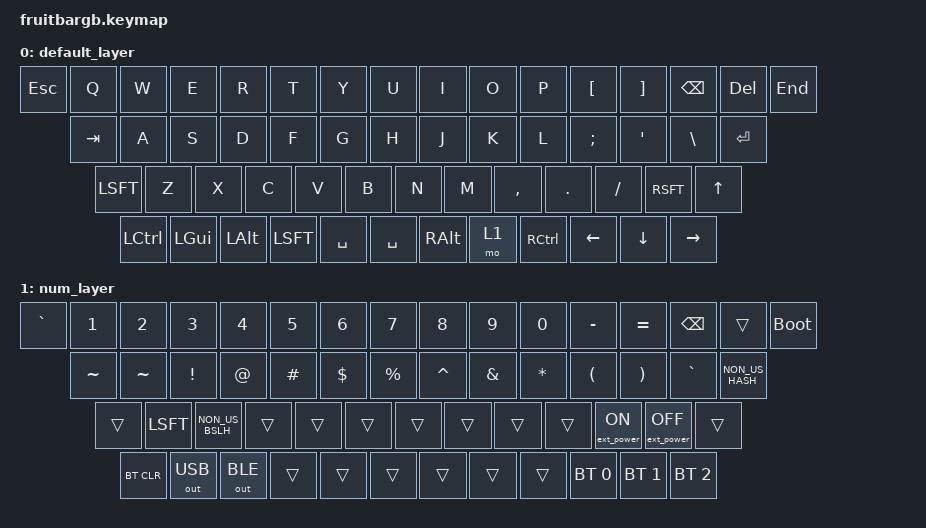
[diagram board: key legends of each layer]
#include <behaviors.dtsi>
#include <dt-bindings/zmk/keys.h>
#include <dt-bindings/zmk/rgb.h>
#include <dt-bindings/zmk/bt.h>
#include <dt-bindings/zmk/outputs.h>
#include <dt-bindings/zmk/ext_power.h>

/ {
	keymap {
		compatible = "zmk,keymap";
		
		default_layer {
			bindings = <
	&kp ESC  &kp   Q   &kp   W   &kp   E   &kp   R   &kp   T   &kp   Y   &kp   U   &kp   I   &kp   O   &kp   P   &kp LBKT &kp RBKT &kp BSPC                         &kp DEL &kp END
	&kp TAB &kp   A   &kp   S   &kp   D   &kp   F   &kp   G   &kp   H   &kp   J   &kp   K   &kp   L   &kp  SCLN  &kp  QUOT  &kp BSLH  &kp RET
	&kp LSFT   &kp   Z   &kp   X   &kp   C   &kp   V   &kp   B   &kp   N   &kp   M   &kp   COMMA   &kp   DOT   &kp   FSLH           &kp RSFT                           &kp UP       
	&kp LCTL &kp LGUI  &kp LALT     &kp LSFT &kp SPC &kp SPC              &kp RALT      &mo 1  &kp RCTL                                                            &kp LEFT &kp DOWN &kp RIGHT 
			>;
		};

		num_layer {
			bindings = <
	&kp GRAVE  &kp N1 &kp N2  &kp N3 &kp N4 &kp N5 &kp N6 &kp N7 &kp N8 &kp N9 &kp N0 &kp MINUS &kp EQUAL &kp BSPC  &trans   &bootloader 
	&kp TILDE &kp TILDE &kp EXCL  &kp AT  &kp HASH &kp DLLR &kp PRCNT &kp CARET &kp AMPS &kp STAR  &kp LPAR  &kp  RPAR &kp GRAVE &kp NON_US_HASH &trans
	&kp LSFT &kp NON_US_BSLH &trans &trans &trans &trans &trans &trans &trans &ext_power EP_ON &ext_power EP_OFF &trans  			  &bt BT_CLR
	&out OUT_USB &out OUT_BLE &trans &trans &trans &trans &trans    &trans                                          			  &bt BT_SEL 0  &bt BT_SEL 1 &bt BT_SEL 2
			>;
		};
	};
};
